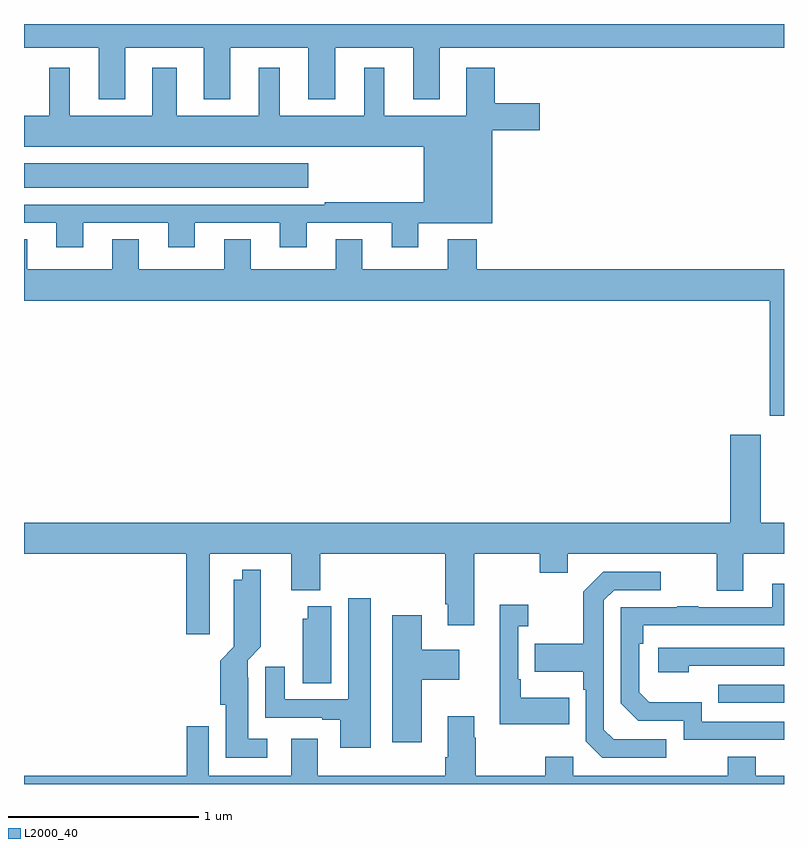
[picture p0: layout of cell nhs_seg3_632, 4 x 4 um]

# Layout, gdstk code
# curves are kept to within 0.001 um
import gdstk
lib = gdstk.Library(unit=1e-6, precision=1e-09)
def R(c, l, rs):  # rectangles x0, y0, x1, y1
    for r in rs: c.add(gdstk.rectangle(r[:2], r[2:], *l))
def P(c, l, *ps):  # polygons
    for p in ps: c.add(gdstk.Polygon(p, *l))
L2000_40 = (2000, 40)

nhs_seg3_632 = lib.new_cell('nhs_seg3_632')
R(nhs_seg3_632, L2000_40, [(146.653,670.827,147,670.923), (143,673.538,144.496,673.666)])
P(nhs_seg3_632, L2000_40, [(143.533,674.276),(143.945,674.276),(143.945,674.003),(144.085,674.003),(144.085,674.276),(144.497,674.276),(144.497,674.003),(144.637,674.003),(144.637,674.276),(145.049,674.276),(145.049,674.003),(145.189,674.003),(145.189,674.276),(147,674.276),(147,674.4),(143,674.4),(143,674.276),(143.393,674.276),(143.393,674.003),(143.533,674.003)],
  [(143.311,673.353),(143.759,673.353),(143.759,673.224),(143.899,673.224),(143.899,673.353),(144.347,673.353),(144.347,673.224),(144.487,673.224),(144.487,673.353),(144.935,673.353),(144.935,673.224),(145.075,673.224),(145.075,673.352),(145.465,673.352),(145.465,673.841),(145.714,673.841),(145.714,673.983),(145.478,673.983),(145.478,674.17),(145.328,674.17),(145.328,673.918),(144.895,673.918),(144.895,674.17),(144.791,674.17),(144.791,673.918),(144.346,673.918),(144.346,674.17),(144.236,674.17),(144.236,673.918),(143.803,673.918),(143.803,674.17),(143.675,674.17),(143.675,673.918),(143.242,673.918),(143.242,674.17),(143.132,674.17),(143.132,673.918),(143,673.918),(143,673.754),(145.103,673.754),(145.103,673.462),(144.583,673.462),(144.583,673.449),(143,673.449),(143,673.353),(143.171,673.353),(143.171,673.224),(143.311,673.224)],
  [(147,673.108),(145.382,673.108),(145.382,673.267),(145.229,673.267),(145.229,673.108),(144.781,673.108),(144.781,673.268),(144.641,673.268),(144.641,673.108),(144.193,673.108),(144.193,673.268),(144.053,673.268),(144.053,673.108),(143.605,673.108),(143.605,673.268),(143.465,673.268),(143.465,673.108),(143.017,673.108),(143.017,673.268),(143,673.268),(143,672.944),(146.924,672.944),(146.924,672.338),(147,672.338)],
  [(143,671.612),(143.855,671.612),(143.855,671.187),(143.977,671.187),(143.977,671.612),(144.407,671.612),(144.407,671.42),(144.56,671.42),(144.56,671.612),(145.217,671.612),(145.217,671.347),(145.229,671.347),(145.229,671.235),(145.369,671.235),(145.369,671.612),(145.714,671.612),(145.714,671.513),(145.861,671.513),(145.861,671.612),(146.645,671.612),(146.645,671.418),(146.785,671.418),(146.785,671.612),(147,671.612),(147,671.776),(146.877,671.776),(146.877,672.238),(146.717,672.238),(146.717,671.776),(143,671.776)],
  [(144.28,670.639),(144.181,670.639),(144.181,670.958),(144.177,670.958),(144.177,671.052),(144.247,671.122),(144.246,671.527),(144.149,671.527),(144.149,671.476),(144.104,671.476),(144.104,671.122),(144.032,671.05),(144.032,670.818),(144.062,670.818),(144.062,670.538),(144.28,670.538)],
  [(146.38,670.635),(146.103,670.635),(146.052,670.686),(146.052,671.367),(146.106,671.421),(146.35,671.421),(146.35,671.517),(146.049,671.517),(145.944,671.411),(145.944,671.139),(145.687,671.139),(145.687,670.991),(145.944,670.991),(145.944,670.895),(145.956,670.895),(145.956,670.626),(146.043,670.539),(146.38,670.539)],
  [(147,670.728),(146.568,670.728),(146.568,670.831),(146.291,670.831),(146.238,670.884),(146.238,671.138),(146.258,671.138),(146.258,671.235),(147,671.236),(147,671.455),(146.939,671.455),(146.939,671.331),(146.549,671.331),(146.549,671.336),(146.437,671.336),(146.437,671.331),(146.142,671.331),(146.142,670.824),(146.232,670.734),(146.472,670.734),(146.472,670.632),(147,670.632)],
  [(144.826,671.377),(144.707,671.377),(144.707,670.845),(144.373,670.845),(144.373,671.017),(144.269,671.017),(144.269,670.749),(144.569,670.749),(144.569,670.737),(144.665,670.737),(144.665,670.59),(144.826,670.59)],
  [(145.871,670.855),(145.615,670.855),(145.615,670.951),(145.602,670.951),(145.602,671.231),(145.654,671.231),(145.654,671.344),(145.505,671.344),(145.505,670.715),(145.871,670.715)],
  [(144.616,671.335),(144.494,671.335),(144.494,671.271),(144.467,671.271),(144.467,670.93),(144.616,670.93)],
  [(145.093,670.949),(145.291,670.949),(145.291,671.107),(145.093,671.107),(145.093,671.287),(144.938,671.287),(144.938,670.62),(145.093,670.62)],
  [(146.498,671.022),(147,671.022),(147,671.118),(146.337,671.118),(146.337,670.988),(146.498,670.988)],
  [(147,670.444),(146.851,670.444),(146.851,670.543),(146.704,670.543),(146.704,670.444),(145.89,670.444),(145.89,670.543),(145.744,670.543),(145.744,670.444),(145.377,670.444),(145.377,670.643),(145.369,670.643),(145.369,670.756),(145.229,670.756),(145.229,670.54),(145.217,670.54),(145.217,670.444),(144.547,670.444),(144.547,670.639),(144.407,670.639),(144.407,670.444),(143.973,670.444),(143.973,670.705),(143.857,670.705),(143.857,670.444),(143,670.444),(143,670.4),(147,670.4)])

lib.write_gds('nhs_seg3_632.gds')
